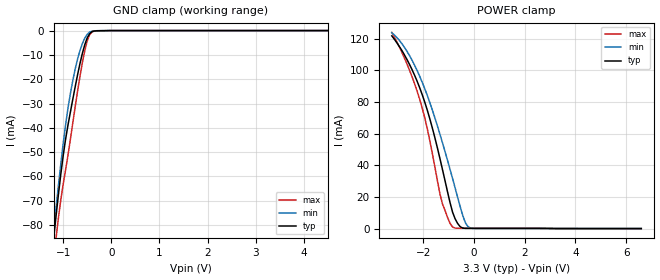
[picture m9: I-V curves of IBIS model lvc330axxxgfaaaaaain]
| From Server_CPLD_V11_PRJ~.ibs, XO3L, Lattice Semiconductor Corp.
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[Model]   lvc330axxxgfaaaaaain
Model_type   Input
Polarity   Non-Inverting
Enable   Active-Low
Vinl =   0.8000V
Vinh =   2.0000V
C_comp   4.2000pF   3.8000pF   7.5000pF
[Temperature Range]   25.0000   0.1050k   -40.0000
[Voltage Range]   3.3000V   3.1400V   3.4700V
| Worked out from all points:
|   GND clamp passes 1 mA (typ) near -0.43 V on its own axis
|   POWER clamp passes 1 mA (typ) near -0.53 V on its own axis
[GND_clamp]
|Voltage   I(typ)   I(min)   I(max)
-3.3V     -955.3mA   -930.3mA   -978mA
-1.2V     -86.21mA   -82.95mA   -94.94mA
-1.15V    -76.76mA   -73.31mA   -85.77mA
-1.1V     -67.73mA   -63.97mA   -77.32mA
-1V       -51.54mA   -46.59mA   -63.26mA
-900mV    -38.9mA    -31.9mA    -51.31mA
-800mV    -28.29mA   -20.61mA   -38.02mA
-700mV    -18.14mA   -11.66mA   -24.86mA
-600mV    -9.315mA   -5.302mA   -13.12mA
-450mV    -1.255mA   -637uA     -1.701mA
0V        0A         0A         0A
6.6V      0A         0A         0A
[POWER_clamp]
|Voltage   I(typ)   I(min)   I(max)
-3.25V    121.9mA    123.9mA    124.1mA
-2.65V    106.9mA    112.1mA    104.1mA
-2.35V    96.95mA    103.3mA    91.59mA
-2.05V    84.73mA    92.58mA    76.25mA
-1.65V    63.65mA    75mA       47.49mA
-1.35V    44.31mA    59.69mA    21.99mA
-1.25V    37.38mA    54.28mA    15.6mA
-850mV    10.32mA    31.58mA    939uA
-650mV    3.193mA    19.74mA    210uA
-350mV    132.1uA    3.862mA    199.7uA
-150mV    104.6uA    375.8uA    197.7uA
6.6V      -56.35nA   -1.463uA   -71.55uA
